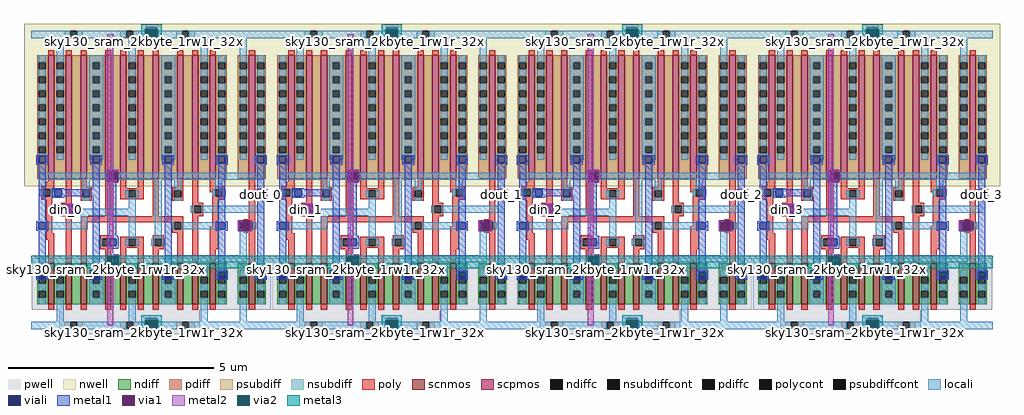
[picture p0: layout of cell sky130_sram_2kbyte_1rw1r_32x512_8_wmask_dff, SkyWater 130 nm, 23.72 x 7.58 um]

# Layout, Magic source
magic
tech sky130A
magscale 1 2
<< locali >>
rect 567 1431 601 1447
rect 567 1381 601 1397
rect 1735 1431 1769 1447
rect 1735 1381 1769 1397
rect 2903 1431 2937 1447
rect 2903 1381 2937 1397
rect 4071 1431 4105 1447
rect 4071 1381 4105 1397
rect 567 17 601 33
rect 567 -33 601 -17
rect 1735 17 1769 33
rect 1735 -33 1769 -17
rect 2903 17 2937 33
rect 2903 -33 2937 -17
rect 4071 17 4105 33
rect 4071 -33 4105 -17
<< viali >>
rect 567 1397 601 1431
rect 1735 1397 1769 1431
rect 2903 1397 2937 1431
rect 4071 1397 4105 1431
rect 567 -17 601 17
rect 1735 -17 1769 17
rect 2903 -17 2937 17
rect 4071 -17 4105 17
<< metal1 >>
rect 552 1388 558 1440
rect 610 1388 616 1440
rect 1720 1388 1726 1440
rect 1778 1388 1784 1440
rect 2888 1388 2894 1440
rect 2946 1388 2952 1440
rect 4056 1388 4062 1440
rect 4114 1388 4120 1440
rect 552 -26 558 26
rect 610 -26 616 26
rect 1720 -26 1726 26
rect 1778 -26 1784 26
rect 2888 -26 2894 26
rect 2946 -26 2952 26
rect 4056 -26 4062 26
rect 4114 -26 4120 26
<< via1 >>
rect 558 1431 610 1440
rect 558 1397 567 1431
rect 567 1397 601 1431
rect 601 1397 610 1431
rect 558 1388 610 1397
rect 1726 1431 1778 1440
rect 1726 1397 1735 1431
rect 1735 1397 1769 1431
rect 1769 1397 1778 1431
rect 1726 1388 1778 1397
rect 2894 1431 2946 1440
rect 2894 1397 2903 1431
rect 2903 1397 2937 1431
rect 2937 1397 2946 1431
rect 2894 1388 2946 1397
rect 4062 1431 4114 1440
rect 4062 1397 4071 1431
rect 4071 1397 4105 1431
rect 4105 1397 4114 1431
rect 4062 1388 4114 1397
rect 558 17 610 26
rect 558 -17 567 17
rect 567 -17 601 17
rect 601 -17 610 17
rect 558 -26 610 -17
rect 1726 17 1778 26
rect 1726 -17 1735 17
rect 1735 -17 1769 17
rect 1769 -17 1778 17
rect 1726 -26 1778 -17
rect 2894 17 2946 26
rect 2894 -17 2903 17
rect 2903 -17 2937 17
rect 2937 -17 2946 17
rect 2894 -26 2946 -17
rect 4062 17 4114 26
rect 4062 -17 4071 17
rect 4071 -17 4105 17
rect 4105 -17 4114 17
rect 4062 -26 4114 -17
<< metal2 >>
rect 556 1442 612 1451
rect 137 538 203 590
rect 369 345 397 1414
rect 1724 1442 1780 1451
rect 556 1377 612 1386
rect 1082 609 1148 661
rect 1305 538 1371 590
rect 1537 345 1565 1414
rect 2892 1442 2948 1451
rect 1724 1377 1780 1386
rect 2250 609 2316 661
rect 2473 538 2539 590
rect 2705 345 2733 1414
rect 4060 1442 4116 1451
rect 2892 1377 2948 1386
rect 3418 609 3484 661
rect 3641 538 3707 590
rect 3873 345 3901 1414
rect 4060 1377 4116 1386
rect 4586 609 4652 661
rect 368 336 424 345
rect 368 271 424 280
rect 1536 336 1592 345
rect 1536 271 1592 280
rect 2704 336 2760 345
rect 2704 271 2760 280
rect 3872 336 3928 345
rect 3872 271 3928 280
rect 369 0 397 271
rect 556 28 612 37
rect 1537 0 1565 271
rect 1724 28 1780 37
rect 556 -37 612 -28
rect 2705 0 2733 271
rect 2892 28 2948 37
rect 1724 -37 1780 -28
rect 3873 0 3901 271
rect 4060 28 4116 37
rect 2892 -37 2948 -28
rect 4060 -37 4116 -28
<< via2 >>
rect 556 1440 612 1442
rect 556 1388 558 1440
rect 558 1388 610 1440
rect 610 1388 612 1440
rect 1724 1440 1780 1442
rect 556 1386 612 1388
rect 1724 1388 1726 1440
rect 1726 1388 1778 1440
rect 1778 1388 1780 1440
rect 2892 1440 2948 1442
rect 1724 1386 1780 1388
rect 2892 1388 2894 1440
rect 2894 1388 2946 1440
rect 2946 1388 2948 1440
rect 4060 1440 4116 1442
rect 2892 1386 2948 1388
rect 4060 1388 4062 1440
rect 4062 1388 4114 1440
rect 4114 1388 4116 1440
rect 4060 1386 4116 1388
rect 368 280 424 336
rect 1536 280 1592 336
rect 2704 280 2760 336
rect 3872 280 3928 336
rect 556 26 612 28
rect 556 -26 558 26
rect 558 -26 610 26
rect 610 -26 612 26
rect 1724 26 1780 28
rect 556 -28 612 -26
rect 1724 -26 1726 26
rect 1726 -26 1778 26
rect 1778 -26 1780 26
rect 2892 26 2948 28
rect 1724 -28 1780 -26
rect 2892 -26 2894 26
rect 2894 -26 2946 26
rect 2946 -26 2948 26
rect 4060 26 4116 28
rect 2892 -28 2948 -26
rect 4060 -26 4062 26
rect 4062 -26 4114 26
rect 4114 -26 4116 26
rect 4060 -28 4116 -26
<< metal3 >>
rect 535 1442 633 1463
rect 535 1386 556 1442
rect 612 1386 633 1442
rect 535 1365 633 1386
rect 1703 1442 1801 1463
rect 1703 1386 1724 1442
rect 1780 1386 1801 1442
rect 1703 1365 1801 1386
rect 2871 1442 2969 1463
rect 2871 1386 2892 1442
rect 2948 1386 2969 1442
rect 2871 1365 2969 1386
rect 4039 1442 4137 1463
rect 4039 1386 4060 1442
rect 4116 1386 4137 1442
rect 4039 1365 4137 1386
rect 363 338 429 341
rect 1531 338 1597 341
rect 2699 338 2765 341
rect 3867 338 3933 341
rect 0 336 4672 338
rect 0 280 368 336
rect 424 280 1536 336
rect 1592 280 2704 336
rect 2760 280 3872 336
rect 3928 280 4672 336
rect 0 278 4672 280
rect 363 275 429 278
rect 1531 275 1597 278
rect 2699 275 2765 278
rect 3867 275 3933 278
rect 535 28 633 49
rect 535 -28 556 28
rect 612 -28 633 28
rect 535 -49 633 -28
rect 1703 28 1801 49
rect 1703 -28 1724 28
rect 1780 -28 1801 28
rect 1703 -49 1801 -28
rect 2871 28 2969 49
rect 2871 -28 2892 28
rect 2948 -28 2969 28
rect 2871 -49 2969 -28
rect 4039 28 4137 49
rect 4039 -28 4060 28
rect 4116 -28 4137 28
rect 4039 -49 4137 -28
use sky130_sram_2kbyte_1rw1r_32x512_8_contact_7  sky130_sram_2kbyte_1rw1r_32x512_8_contact_7_0
transform 1 0 3867 0 1 271
box 0 0 1 1
use sky130_sram_2kbyte_1rw1r_32x512_8_contact_7  sky130_sram_2kbyte_1rw1r_32x512_8_contact_7_1
transform 1 0 2699 0 1 271
box 0 0 1 1
use sky130_sram_2kbyte_1rw1r_32x512_8_contact_7  sky130_sram_2kbyte_1rw1r_32x512_8_contact_7_2
transform 1 0 1531 0 1 271
box 0 0 1 1
use sky130_sram_2kbyte_1rw1r_32x512_8_contact_7  sky130_sram_2kbyte_1rw1r_32x512_8_contact_7_3
transform 1 0 363 0 1 271
box 0 0 1 1
use sky130_sram_2kbyte_1rw1r_32x512_8_contact_7  sky130_sram_2kbyte_1rw1r_32x512_8_contact_7_4
transform 1 0 4055 0 1 -37
box 0 0 1 1
use sky130_sram_2kbyte_1rw1r_32x512_8_contact_19  sky130_sram_2kbyte_1rw1r_32x512_8_contact_19_0
transform 1 0 4056 0 1 -32
box 0 0 1 1
use sky130_sram_2kbyte_1rw1r_32x512_8_contact_14  sky130_sram_2kbyte_1rw1r_32x512_8_contact_14_0
transform 1 0 4059 0 1 -33
box 0 0 1 1
use sky130_sram_2kbyte_1rw1r_32x512_8_contact_7  sky130_sram_2kbyte_1rw1r_32x512_8_contact_7_5
transform 1 0 4055 0 1 1377
box 0 0 1 1
use sky130_sram_2kbyte_1rw1r_32x512_8_contact_19  sky130_sram_2kbyte_1rw1r_32x512_8_contact_19_1
transform 1 0 4056 0 1 1382
box 0 0 1 1
use sky130_sram_2kbyte_1rw1r_32x512_8_contact_14  sky130_sram_2kbyte_1rw1r_32x512_8_contact_14_1
transform 1 0 4059 0 1 1381
box 0 0 1 1
use sky130_sram_2kbyte_1rw1r_32x512_8_contact_7  sky130_sram_2kbyte_1rw1r_32x512_8_contact_7_6
transform 1 0 2887 0 1 -37
box 0 0 1 1
use sky130_sram_2kbyte_1rw1r_32x512_8_contact_19  sky130_sram_2kbyte_1rw1r_32x512_8_contact_19_2
transform 1 0 2888 0 1 -32
box 0 0 1 1
use sky130_sram_2kbyte_1rw1r_32x512_8_contact_14  sky130_sram_2kbyte_1rw1r_32x512_8_contact_14_2
transform 1 0 2891 0 1 -33
box 0 0 1 1
use sky130_sram_2kbyte_1rw1r_32x512_8_contact_7  sky130_sram_2kbyte_1rw1r_32x512_8_contact_7_7
transform 1 0 2887 0 1 1377
box 0 0 1 1
use sky130_sram_2kbyte_1rw1r_32x512_8_contact_19  sky130_sram_2kbyte_1rw1r_32x512_8_contact_19_3
transform 1 0 2888 0 1 1382
box 0 0 1 1
use sky130_sram_2kbyte_1rw1r_32x512_8_contact_14  sky130_sram_2kbyte_1rw1r_32x512_8_contact_14_3
transform 1 0 2891 0 1 1381
box 0 0 1 1
use sky130_sram_2kbyte_1rw1r_32x512_8_contact_7  sky130_sram_2kbyte_1rw1r_32x512_8_contact_7_8
transform 1 0 1719 0 1 -37
box 0 0 1 1
use sky130_sram_2kbyte_1rw1r_32x512_8_contact_19  sky130_sram_2kbyte_1rw1r_32x512_8_contact_19_4
transform 1 0 1720 0 1 -32
box 0 0 1 1
use sky130_sram_2kbyte_1rw1r_32x512_8_contact_14  sky130_sram_2kbyte_1rw1r_32x512_8_contact_14_4
transform 1 0 1723 0 1 -33
box 0 0 1 1
use sky130_sram_2kbyte_1rw1r_32x512_8_contact_7  sky130_sram_2kbyte_1rw1r_32x512_8_contact_7_9
transform 1 0 1719 0 1 1377
box 0 0 1 1
use sky130_sram_2kbyte_1rw1r_32x512_8_contact_19  sky130_sram_2kbyte_1rw1r_32x512_8_contact_19_5
transform 1 0 1720 0 1 1382
box 0 0 1 1
use sky130_sram_2kbyte_1rw1r_32x512_8_contact_14  sky130_sram_2kbyte_1rw1r_32x512_8_contact_14_5
transform 1 0 1723 0 1 1381
box 0 0 1 1
use sky130_sram_2kbyte_1rw1r_32x512_8_contact_7  sky130_sram_2kbyte_1rw1r_32x512_8_contact_7_10
transform 1 0 551 0 1 -37
box 0 0 1 1
use sky130_sram_2kbyte_1rw1r_32x512_8_contact_19  sky130_sram_2kbyte_1rw1r_32x512_8_contact_19_6
transform 1 0 552 0 1 -32
box 0 0 1 1
use sky130_sram_2kbyte_1rw1r_32x512_8_contact_14  sky130_sram_2kbyte_1rw1r_32x512_8_contact_14_6
transform 1 0 555 0 1 -33
box 0 0 1 1
use sky130_sram_2kbyte_1rw1r_32x512_8_contact_7  sky130_sram_2kbyte_1rw1r_32x512_8_contact_7_11
transform 1 0 551 0 1 1377
box 0 0 1 1
use sky130_sram_2kbyte_1rw1r_32x512_8_contact_19  sky130_sram_2kbyte_1rw1r_32x512_8_contact_19_7
transform 1 0 552 0 1 1382
box 0 0 1 1
use sky130_sram_2kbyte_1rw1r_32x512_8_contact_14  sky130_sram_2kbyte_1rw1r_32x512_8_contact_14_7
transform 1 0 555 0 1 1381
box 0 0 1 1
use sky130_fd_bd_sram__openram_dff  sky130_fd_bd_sram__openram_dff_0
transform 1 0 3504 0 1 0
box -36 -43 1204 1467
use sky130_fd_bd_sram__openram_dff  sky130_fd_bd_sram__openram_dff_1
transform 1 0 2336 0 1 0
box -36 -43 1204 1467
use sky130_fd_bd_sram__openram_dff  sky130_fd_bd_sram__openram_dff_2
transform 1 0 1168 0 1 0
box -36 -43 1204 1467
use sky130_fd_bd_sram__openram_dff  sky130_fd_bd_sram__openram_dff_3
transform 1 0 0 0 1 0
box -36 -43 1204 1467
<< labels >>
rlabel metal3 s 2871 1365 2969 1463 4 vdd
port 1 nsew
rlabel metal3 s 4039 1365 4137 1463 4 vdd
port 1 nsew
rlabel metal3 s 535 1365 633 1463 4 vdd
port 1 nsew
rlabel metal3 s 1703 1365 1801 1463 4 vdd
port 1 nsew
rlabel metal3 s 535 -49 633 49 4 gnd
port 2 nsew
rlabel metal3 s 4039 -49 4137 49 4 gnd
port 2 nsew
rlabel metal3 s 2871 -49 2969 49 4 gnd
port 2 nsew
rlabel metal3 s 1703 -49 1801 49 4 gnd
port 2 nsew
rlabel metal3 s 0 278 4672 338 4 clk
port 3 nsew
rlabel metal2 s 137 538 203 590 4 din_0
port 4 nsew
rlabel metal2 s 1082 609 1148 661 4 dout_0
port 5 nsew
rlabel metal2 s 1305 538 1371 590 4 din_1
port 6 nsew
rlabel metal2 s 2250 609 2316 661 4 dout_1
port 7 nsew
rlabel metal2 s 2473 538 2539 590 4 din_2
port 8 nsew
rlabel metal2 s 3418 609 3484 661 4 dout_2
port 9 nsew
rlabel metal2 s 3641 538 3707 590 4 din_3
port 10 nsew
rlabel metal2 s 4586 609 4652 661 4 dout_3
port 11 nsew
<< properties >>
string FIXED_BBOX 4055 -37 4121 0
string GDS_FILE $PDKPATH/libs.ref/sky130_sram_macros/gds/sky130_sram_2kbyte_1rw1r_32x512_8.gds
string GDS_END 12325812
string GDS_START 12319114
<< end >>

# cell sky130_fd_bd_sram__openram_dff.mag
magic
tech sky130A
magscale 1 2
<< nwell >>
rect -36 676 1204 1467
<< pwell >>
rect 2 76 1166 328
rect 135 -43 819 76
<< scnmos >>
rect 81 102 111 302
rect 167 102 197 302
rect 239 102 269 302
rect 359 102 389 302
rect 431 102 461 302
rect 517 102 547 302
rect 589 102 619 302
rect 709 102 739 302
rect 781 102 811 302
rect 867 102 897 302
rect 1057 102 1087 302
<< scpmos >>
rect 81 712 111 1312
rect 167 712 197 1312
rect 239 712 269 1312
rect 359 712 389 1312
rect 431 712 461 1312
rect 517 712 547 1312
rect 589 712 619 1312
rect 709 712 739 1312
rect 781 712 811 1312
rect 867 712 897 1312
rect 1057 712 1087 1312
<< ndiff >>
rect 28 237 81 302
rect 28 203 36 237
rect 70 203 81 237
rect 28 169 81 203
rect 28 135 36 169
rect 70 135 81 169
rect 28 102 81 135
rect 111 237 167 302
rect 111 203 122 237
rect 156 203 167 237
rect 111 169 167 203
rect 111 135 122 169
rect 156 135 167 169
rect 111 102 167 135
rect 197 102 239 302
rect 269 237 359 302
rect 269 203 297 237
rect 331 203 359 237
rect 269 169 359 203
rect 269 135 297 169
rect 331 135 359 169
rect 269 102 359 135
rect 389 102 431 302
rect 461 237 517 302
rect 461 203 472 237
rect 506 203 517 237
rect 461 169 517 203
rect 461 135 472 169
rect 506 135 517 169
rect 461 102 517 135
rect 547 102 589 302
rect 619 237 709 302
rect 619 203 647 237
rect 681 203 709 237
rect 619 169 709 203
rect 619 135 647 169
rect 681 135 709 169
rect 619 102 709 135
rect 739 102 781 302
rect 811 237 867 302
rect 811 203 822 237
rect 856 203 867 237
rect 811 169 867 203
rect 811 135 822 169
rect 856 135 867 169
rect 811 102 867 135
rect 897 237 950 302
rect 897 203 908 237
rect 942 203 950 237
rect 897 169 950 203
rect 897 135 908 169
rect 942 135 950 169
rect 897 102 950 135
rect 1004 237 1057 302
rect 1004 203 1012 237
rect 1046 203 1057 237
rect 1004 169 1057 203
rect 1004 135 1012 169
rect 1046 135 1057 169
rect 1004 102 1057 135
rect 1087 237 1140 302
rect 1087 203 1098 237
rect 1132 203 1140 237
rect 1087 169 1140 203
rect 1087 135 1098 169
rect 1132 135 1140 169
rect 1087 102 1140 135
<< pdiff >>
rect 28 1279 81 1312
rect 28 1245 36 1279
rect 70 1245 81 1279
rect 28 1211 81 1245
rect 28 1177 36 1211
rect 70 1177 81 1211
rect 28 1143 81 1177
rect 28 1109 36 1143
rect 70 1109 81 1143
rect 28 1075 81 1109
rect 28 1041 36 1075
rect 70 1041 81 1075
rect 28 1007 81 1041
rect 28 973 36 1007
rect 70 973 81 1007
rect 28 939 81 973
rect 28 905 36 939
rect 70 905 81 939
rect 28 871 81 905
rect 28 837 36 871
rect 70 837 81 871
rect 28 712 81 837
rect 111 1279 167 1312
rect 111 1245 122 1279
rect 156 1245 167 1279
rect 111 1211 167 1245
rect 111 1177 122 1211
rect 156 1177 167 1211
rect 111 1143 167 1177
rect 111 1109 122 1143
rect 156 1109 167 1143
rect 111 1075 167 1109
rect 111 1041 122 1075
rect 156 1041 167 1075
rect 111 1007 167 1041
rect 111 973 122 1007
rect 156 973 167 1007
rect 111 939 167 973
rect 111 905 122 939
rect 156 905 167 939
rect 111 871 167 905
rect 111 837 122 871
rect 156 837 167 871
rect 111 712 167 837
rect 197 712 239 1312
rect 269 1279 359 1312
rect 269 1245 297 1279
rect 331 1245 359 1279
rect 269 1211 359 1245
rect 269 1177 297 1211
rect 331 1177 359 1211
rect 269 1143 359 1177
rect 269 1109 297 1143
rect 331 1109 359 1143
rect 269 1075 359 1109
rect 269 1041 297 1075
rect 331 1041 359 1075
rect 269 1007 359 1041
rect 269 973 297 1007
rect 331 973 359 1007
rect 269 939 359 973
rect 269 905 297 939
rect 331 905 359 939
rect 269 871 359 905
rect 269 837 297 871
rect 331 837 359 871
rect 269 712 359 837
rect 389 712 431 1312
rect 461 1279 517 1312
rect 461 1245 472 1279
rect 506 1245 517 1279
rect 461 1211 517 1245
rect 461 1177 472 1211
rect 506 1177 517 1211
rect 461 1143 517 1177
rect 461 1109 472 1143
rect 506 1109 517 1143
rect 461 1075 517 1109
rect 461 1041 472 1075
rect 506 1041 517 1075
rect 461 1007 517 1041
rect 461 973 472 1007
rect 506 973 517 1007
rect 461 939 517 973
rect 461 905 472 939
rect 506 905 517 939
rect 461 871 517 905
rect 461 837 472 871
rect 506 837 517 871
rect 461 712 517 837
rect 547 712 589 1312
rect 619 1279 709 1312
rect 619 1245 647 1279
rect 681 1245 709 1279
rect 619 1211 709 1245
rect 619 1177 647 1211
rect 681 1177 709 1211
rect 619 1143 709 1177
rect 619 1109 647 1143
rect 681 1109 709 1143
rect 619 1075 709 1109
rect 619 1041 647 1075
rect 681 1041 709 1075
rect 619 1007 709 1041
rect 619 973 647 1007
rect 681 973 709 1007
rect 619 939 709 973
rect 619 905 647 939
rect 681 905 709 939
rect 619 871 709 905
rect 619 837 647 871
rect 681 837 709 871
rect 619 712 709 837
rect 739 712 781 1312
rect 811 1279 867 1312
rect 811 1245 822 1279
rect 856 1245 867 1279
rect 811 1211 867 1245
rect 811 1177 822 1211
rect 856 1177 867 1211
rect 811 1143 867 1177
rect 811 1109 822 1143
rect 856 1109 867 1143
rect 811 1075 867 1109
rect 811 1041 822 1075
rect 856 1041 867 1075
rect 811 1007 867 1041
rect 811 973 822 1007
rect 856 973 867 1007
rect 811 939 867 973
rect 811 905 822 939
rect 856 905 867 939
rect 811 871 867 905
rect 811 837 822 871
rect 856 837 867 871
rect 811 712 867 837
rect 897 1279 950 1312
rect 897 1245 908 1279
rect 942 1245 950 1279
rect 897 1211 950 1245
rect 897 1177 908 1211
rect 942 1177 950 1211
rect 897 1143 950 1177
rect 897 1109 908 1143
rect 942 1109 950 1143
rect 897 1075 950 1109
rect 897 1041 908 1075
rect 942 1041 950 1075
rect 897 1007 950 1041
rect 897 973 908 1007
rect 942 973 950 1007
rect 897 939 950 973
rect 897 905 908 939
rect 942 905 950 939
rect 897 871 950 905
rect 897 837 908 871
rect 942 837 950 871
rect 897 712 950 837
rect 1004 1279 1057 1312
rect 1004 1245 1012 1279
rect 1046 1245 1057 1279
rect 1004 1211 1057 1245
rect 1004 1177 1012 1211
rect 1046 1177 1057 1211
rect 1004 1143 1057 1177
rect 1004 1109 1012 1143
rect 1046 1109 1057 1143
rect 1004 1075 1057 1109
rect 1004 1041 1012 1075
rect 1046 1041 1057 1075
rect 1004 1007 1057 1041
rect 1004 973 1012 1007
rect 1046 973 1057 1007
rect 1004 939 1057 973
rect 1004 905 1012 939
rect 1046 905 1057 939
rect 1004 871 1057 905
rect 1004 837 1012 871
rect 1046 837 1057 871
rect 1004 712 1057 837
rect 1087 1279 1140 1312
rect 1087 1245 1098 1279
rect 1132 1245 1140 1279
rect 1087 1211 1140 1245
rect 1087 1177 1098 1211
rect 1132 1177 1140 1211
rect 1087 1143 1140 1177
rect 1087 1109 1098 1143
rect 1132 1109 1140 1143
rect 1087 1075 1140 1109
rect 1087 1041 1098 1075
rect 1132 1041 1140 1075
rect 1087 1007 1140 1041
rect 1087 973 1098 1007
rect 1132 973 1140 1007
rect 1087 939 1140 973
rect 1087 905 1098 939
rect 1132 905 1140 939
rect 1087 871 1140 905
rect 1087 837 1098 871
rect 1132 837 1140 871
rect 1087 712 1140 837
<< ndiffc >>
rect 36 203 70 237
rect 36 135 70 169
rect 122 203 156 237
rect 122 135 156 169
rect 297 203 331 237
rect 297 135 331 169
rect 472 203 506 237
rect 472 135 506 169
rect 647 203 681 237
rect 647 135 681 169
rect 822 203 856 237
rect 822 135 856 169
rect 908 203 942 237
rect 908 135 942 169
rect 1012 203 1046 237
rect 1012 135 1046 169
rect 1098 203 1132 237
rect 1098 135 1132 169
<< pdiffc >>
rect 36 1245 70 1279
rect 36 1177 70 1211
rect 36 1109 70 1143
rect 36 1041 70 1075
rect 36 973 70 1007
rect 36 905 70 939
rect 36 837 70 871
rect 122 1245 156 1279
rect 122 1177 156 1211
rect 122 1109 156 1143
rect 122 1041 156 1075
rect 122 973 156 1007
rect 122 905 156 939
rect 122 837 156 871
rect 297 1245 331 1279
rect 297 1177 331 1211
rect 297 1109 331 1143
rect 297 1041 331 1075
rect 297 973 331 1007
rect 297 905 331 939
rect 297 837 331 871
rect 472 1245 506 1279
rect 472 1177 506 1211
rect 472 1109 506 1143
rect 472 1041 506 1075
rect 472 973 506 1007
rect 472 905 506 939
rect 472 837 506 871
rect 647 1245 681 1279
rect 647 1177 681 1211
rect 647 1109 681 1143
rect 647 1041 681 1075
rect 647 973 681 1007
rect 647 905 681 939
rect 647 837 681 871
rect 822 1245 856 1279
rect 822 1177 856 1211
rect 822 1109 856 1143
rect 822 1041 856 1075
rect 822 973 856 1007
rect 822 905 856 939
rect 822 837 856 871
rect 908 1245 942 1279
rect 908 1177 942 1211
rect 908 1109 942 1143
rect 908 1041 942 1075
rect 908 973 942 1007
rect 908 905 942 939
rect 908 837 942 871
rect 1012 1245 1046 1279
rect 1012 1177 1046 1211
rect 1012 1109 1046 1143
rect 1012 1041 1046 1075
rect 1012 973 1046 1007
rect 1012 905 1046 939
rect 1012 837 1046 871
rect 1098 1245 1132 1279
rect 1098 1177 1132 1211
rect 1098 1109 1132 1143
rect 1098 1041 1132 1075
rect 1098 973 1132 1007
rect 1098 905 1132 939
rect 1098 837 1132 871
<< psubdiff >>
rect 161 -17 188 17
rect 222 -17 249 17
rect 433 -17 460 17
rect 494 -17 521 17
rect 705 -17 732 17
rect 766 -17 793 17
<< nsubdiff >>
rect 161 1397 188 1431
rect 222 1397 249 1431
rect 433 1397 460 1431
rect 494 1397 521 1431
rect 705 1397 732 1431
rect 766 1397 793 1431
<< psubdiffcont >>
rect 188 -17 222 17
rect 460 -17 494 17
rect 732 -17 766 17
<< nsubdiffcont >>
rect 188 1397 222 1431
rect 460 1397 494 1431
rect 732 1397 766 1431
<< poly >>
rect 81 1312 111 1338
rect 167 1312 197 1338
rect 239 1312 269 1338
rect 359 1312 389 1338
rect 431 1312 461 1338
rect 517 1312 547 1338
rect 589 1312 619 1338
rect 709 1312 739 1338
rect 781 1312 811 1338
rect 867 1312 897 1338
rect 1057 1312 1087 1338
rect 81 697 111 712
rect 70 677 111 697
rect 47 667 111 677
rect 47 661 101 667
rect 47 627 57 661
rect 91 627 101 661
rect 47 611 101 627
rect 71 447 101 611
rect 167 597 197 712
rect 239 672 269 712
rect 239 656 293 672
rect 239 622 249 656
rect 283 622 293 656
rect 239 606 293 622
rect 143 581 197 597
rect 143 547 153 581
rect 187 547 197 581
rect 143 531 197 547
rect 359 531 389 712
rect 431 667 461 712
rect 517 667 547 712
rect 431 657 547 667
rect 431 623 472 657
rect 506 623 547 657
rect 431 613 547 623
rect 589 531 619 712
rect 709 672 739 712
rect 685 656 739 672
rect 685 622 695 656
rect 729 622 739 656
rect 685 606 739 622
rect 781 597 811 712
rect 867 677 897 712
rect 867 661 938 677
rect 867 647 894 661
rect 878 627 894 647
rect 928 627 938 661
rect 878 611 938 627
rect 781 581 835 597
rect 781 547 791 581
rect 825 547 835 581
rect 781 531 835 547
rect 71 417 111 447
rect 81 302 111 417
rect 167 302 197 531
rect 239 501 739 531
rect 239 302 269 501
rect 685 467 695 501
rect 729 467 739 501
rect 685 451 739 467
rect 335 421 389 437
rect 335 387 345 421
rect 379 387 389 421
rect 335 371 389 387
rect 359 302 389 371
rect 431 421 547 431
rect 431 387 472 421
rect 506 387 547 421
rect 431 377 547 387
rect 431 302 461 377
rect 517 302 547 377
rect 589 421 643 437
rect 589 387 599 421
rect 633 387 643 421
rect 589 371 643 387
rect 589 302 619 371
rect 709 302 739 451
rect 781 302 811 531
rect 878 481 908 611
rect 1057 517 1087 712
rect 867 371 908 481
rect 1033 501 1087 517
rect 1033 467 1043 501
rect 1077 467 1087 501
rect 1033 451 1087 467
rect 867 302 897 371
rect 1057 302 1087 451
rect 81 76 111 102
rect 167 76 197 102
rect 239 76 269 102
rect 359 76 389 102
rect 431 76 461 102
rect 517 76 547 102
rect 589 76 619 102
rect 709 76 739 102
rect 781 76 811 102
rect 867 76 897 102
rect 1057 76 1087 102
<< polycont >>
rect 57 627 91 661
rect 249 622 283 656
rect 153 547 187 581
rect 472 623 506 657
rect 695 622 729 656
rect 894 627 928 661
rect 791 547 825 581
rect 695 467 729 501
rect 345 387 379 421
rect 472 387 506 421
rect 599 387 633 421
rect 1043 467 1077 501
<< locali >>
rect 0 1431 1168 1432
rect 0 1397 188 1431
rect 222 1397 460 1431
rect 494 1397 732 1431
rect 766 1397 1168 1431
rect 0 1396 1168 1397
rect 36 1279 70 1312
rect 36 1211 70 1245
rect 36 1143 70 1177
rect 36 1075 70 1109
rect 36 1007 70 1041
rect 36 939 70 973
rect 36 871 70 905
rect 36 821 70 837
rect 122 1279 156 1396
rect 122 1211 156 1245
rect 122 1143 156 1177
rect 122 1075 156 1109
rect 122 1007 156 1041
rect 122 939 156 973
rect 122 871 156 905
rect 122 804 156 837
rect 280 1279 348 1312
rect 280 1245 297 1279
rect 331 1245 348 1279
rect 280 1211 348 1245
rect 280 1177 297 1211
rect 331 1177 348 1211
rect 280 1143 348 1177
rect 280 1109 297 1143
rect 331 1109 348 1143
rect 280 1075 348 1109
rect 280 1041 297 1075
rect 331 1041 348 1075
rect 280 1007 348 1041
rect 280 973 297 1007
rect 331 973 348 1007
rect 280 939 348 973
rect 280 905 297 939
rect 331 905 348 939
rect 280 871 348 905
rect 280 837 297 871
rect 331 837 348 871
rect 280 821 348 837
rect 280 804 297 821
rect 331 804 348 821
rect 472 1279 506 1396
rect 472 1211 506 1245
rect 472 1143 506 1177
rect 472 1075 506 1109
rect 472 1007 506 1041
rect 472 939 506 973
rect 472 871 506 905
rect 472 804 506 837
rect 630 1279 698 1312
rect 630 1245 647 1279
rect 681 1245 698 1279
rect 630 1211 698 1245
rect 630 1177 647 1211
rect 681 1177 698 1211
rect 630 1143 698 1177
rect 630 1109 647 1143
rect 681 1109 698 1143
rect 630 1075 698 1109
rect 630 1041 647 1075
rect 681 1041 698 1075
rect 630 1007 698 1041
rect 630 973 647 1007
rect 681 973 698 1007
rect 630 939 698 973
rect 630 905 647 939
rect 681 905 698 939
rect 630 871 698 905
rect 630 837 647 871
rect 681 837 698 871
rect 630 821 698 837
rect 630 804 647 821
rect 681 804 698 821
rect 822 1279 856 1396
rect 822 1211 856 1245
rect 822 1143 856 1177
rect 822 1075 856 1109
rect 822 1007 856 1041
rect 822 939 856 973
rect 822 871 856 905
rect 822 804 856 837
rect 908 1279 942 1312
rect 908 1211 942 1245
rect 908 1143 942 1177
rect 908 1075 942 1109
rect 908 1007 942 1041
rect 908 939 942 973
rect 908 871 942 905
rect 908 821 942 837
rect 1012 1279 1046 1396
rect 1012 1211 1046 1245
rect 1012 1143 1046 1177
rect 1012 1075 1046 1109
rect 1012 1007 1046 1041
rect 1012 939 1046 973
rect 1012 871 1046 905
rect 1012 804 1046 837
rect 1098 1279 1132 1312
rect 1098 1211 1132 1245
rect 1098 1143 1132 1177
rect 1098 1075 1132 1109
rect 1098 1007 1132 1041
rect 1098 939 1132 973
rect 1098 871 1132 905
rect 1098 821 1132 837
rect 41 707 379 741
rect 413 707 1132 741
rect 41 627 57 661
rect 91 627 113 661
rect 249 656 283 707
rect 456 623 472 657
rect 506 623 522 657
rect 249 606 283 622
rect 137 547 153 581
rect 187 547 203 581
rect 472 566 506 623
rect 239 532 506 566
rect 239 501 273 532
rect 70 467 273 501
rect 472 421 506 532
rect 599 421 633 707
rect 695 656 729 707
rect 894 661 928 707
rect 878 627 894 661
rect 928 627 944 661
rect 695 606 729 622
rect 1098 581 1132 618
rect 775 547 791 581
rect 825 547 1132 581
rect 679 467 695 501
rect 729 467 908 501
rect 1012 467 1020 501
rect 1077 467 1093 501
rect 328 387 345 421
rect 456 387 472 421
rect 506 387 522 421
rect 583 387 599 421
rect 633 387 649 421
rect 1012 341 1046 467
rect 647 307 1046 341
rect 647 270 681 307
rect 36 261 70 270
rect 36 169 70 203
rect 36 102 70 135
rect 122 237 156 270
rect 122 169 156 203
rect 122 18 156 135
rect 280 261 348 270
rect 280 203 297 261
rect 331 203 348 261
rect 280 169 348 203
rect 280 135 297 169
rect 331 135 348 169
rect 280 102 348 135
rect 472 237 506 270
rect 472 169 506 203
rect 472 18 506 135
rect 630 261 698 270
rect 630 203 647 261
rect 681 203 698 261
rect 630 169 698 203
rect 630 135 647 169
rect 681 135 698 169
rect 630 102 698 135
rect 822 237 856 270
rect 822 169 856 203
rect 822 18 856 135
rect 908 261 942 271
rect 908 169 942 203
rect 908 102 942 135
rect 1012 237 1046 270
rect 1012 169 1046 203
rect 1012 18 1046 135
rect 1098 261 1132 271
rect 1098 169 1132 203
rect 1098 102 1132 135
rect 0 17 1168 18
rect 0 -17 188 17
rect 222 -17 460 17
rect 494 -17 732 17
rect 766 -17 1168 17
rect 0 -18 1168 -17
<< viali >>
rect 36 787 70 821
rect 297 787 331 821
rect 647 787 681 821
rect 908 787 942 821
rect 1098 787 1132 821
rect 379 707 413 741
rect 113 627 147 661
rect 153 547 187 581
rect 36 467 70 501
rect 1098 618 1132 652
rect 908 467 942 501
rect 1020 467 1043 501
rect 1043 467 1054 501
rect 379 387 413 421
rect 36 237 70 261
rect 36 227 70 237
rect 297 237 331 261
rect 297 227 331 237
rect 647 237 681 261
rect 647 227 681 237
rect 908 237 942 261
rect 908 227 942 237
rect 1098 237 1132 261
rect 1098 227 1132 237
<< metal1 >>
rect 24 821 82 827
rect 24 787 36 821
rect 70 787 82 821
rect 24 781 82 787
rect 285 821 343 827
rect 285 787 297 821
rect 331 787 343 821
rect 285 781 343 787
rect 635 821 693 827
rect 635 787 647 821
rect 681 787 693 821
rect 635 781 693 787
rect 896 821 954 827
rect 896 787 908 821
rect 942 787 954 821
rect 896 781 954 787
rect 1086 821 1144 827
rect 1086 787 1098 821
rect 1132 787 1144 821
rect 1086 781 1144 787
rect 36 507 70 781
rect 101 661 159 667
rect 297 661 331 781
rect 369 750 423 756
rect 369 747 370 750
rect 367 701 370 747
rect 422 747 423 750
rect 369 698 370 701
rect 422 701 425 747
rect 422 698 423 701
rect 369 692 423 698
rect 101 627 113 661
rect 147 627 331 661
rect 101 621 159 627
rect 137 538 144 590
rect 196 538 203 590
rect 24 501 82 507
rect 24 467 36 501
rect 70 467 82 501
rect 24 461 82 467
rect 36 267 70 461
rect 297 267 331 627
rect 379 436 413 692
rect 369 427 423 436
rect 367 421 425 427
rect 367 387 379 421
rect 413 387 425 421
rect 367 381 425 387
rect 369 372 423 381
rect 647 267 681 781
rect 908 507 942 781
rect 1098 661 1132 781
rect 1082 609 1089 661
rect 1141 609 1148 661
rect 896 501 954 507
rect 896 467 908 501
rect 942 467 954 501
rect 896 461 954 467
rect 908 267 942 461
rect 1004 458 1011 510
rect 1063 458 1070 510
rect 1098 267 1132 609
rect 24 261 82 267
rect 24 227 36 261
rect 70 227 82 261
rect 24 221 82 227
rect 285 261 343 267
rect 285 227 297 261
rect 331 227 343 261
rect 285 221 343 227
rect 635 261 693 267
rect 635 227 647 261
rect 681 227 693 261
rect 635 221 693 227
rect 896 261 954 267
rect 896 227 908 261
rect 942 227 954 261
rect 896 221 954 227
rect 1086 261 1144 267
rect 1086 227 1098 261
rect 1132 227 1144 261
rect 1086 221 1144 227
<< via1 >>
rect 370 741 422 750
rect 370 707 379 741
rect 379 707 413 741
rect 413 707 422 741
rect 370 698 422 707
rect 144 581 196 590
rect 144 547 153 581
rect 153 547 187 581
rect 187 547 196 581
rect 144 538 196 547
rect 1089 652 1141 661
rect 1089 618 1098 652
rect 1098 618 1132 652
rect 1132 618 1141 652
rect 1089 609 1141 618
rect 1011 501 1063 510
rect 1011 467 1020 501
rect 1020 467 1054 501
rect 1054 467 1063 501
rect 1011 458 1063 467
<< metal2 >>
rect 369 750 423 756
rect 369 698 370 750
rect 422 698 423 750
rect 369 692 423 698
rect 1082 609 1089 661
rect 1141 609 1148 661
rect 137 538 144 590
rect 196 538 203 590
rect 1004 458 1011 510
rect 1063 458 1070 510
<< labels >>
rlabel metal2 s 1007 504 1007 504 4 QN
port 33 nsew
rlabel metal2 s 369 692 423 756 4 CLK
port 3 nsew
rlabel metal2 s 137 538 203 590 4 D
port 1 nsew
rlabel metal2 s 1082 609 1148 661 4 Q
port 2 nsew
rlabel metal2 s 170 564 170 564 4 D
port 1 nsew
rlabel metal2 s 1115 635 1115 635 4 Q
port 2 nsew
rlabel metal2 s 396 724 396 724 4 clk
port 31 nsew
rlabel locali s 548 1416 548 1416 4 VDD
port 4 nsew
rlabel locali s 544 0 544 0 4 GND
port 5 nsew
rlabel locali s 584 1414 584 1414 4 vdd
port 32 nsew
rlabel locali s 584 0 584 0 4 gnd
port 30 nsew
<< properties >>
string FIXED_BBOX 0 0 1168 1414
string GDS_FILE $PDKPATH/libs.ref/sky130_sram_macros/gds/sky130_sram_2kbyte_1rw1r_32x512_8.gds
string GDS_END 188302
string GDS_START 168502
<< end >>
